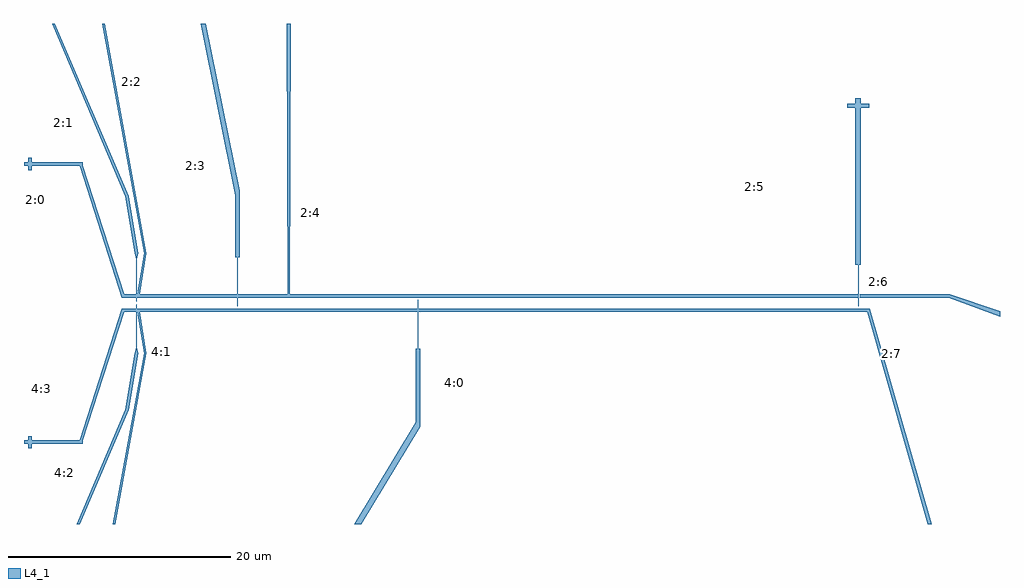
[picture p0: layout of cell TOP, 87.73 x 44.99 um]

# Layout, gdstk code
import gdstk
lib = gdstk.Library(unit=1e-6, precision=1e-09)
def P(c, l, *ps):  # polygons
    for p in ps: c.add(gdstk.Polygon(p, *l))
L4_1 = (4, 1)

top = lib.new_cell('TOP')
P(top, L4_1, [(-11.259,-12.839),(-11.259,-12.439),(-11.659,-12.439),(-11.659,-12.139),(-11.259,-12.139),(-11.259,-11.739),(-10.959,-11.739),(-10.959,-12.139),(-6.659,-12.139),(-2.859,-0.289),(-1.634,-0.289),(-1.634,-0.589),(-2.659,-0.589),(-6.359,-12.139),(-6.359,-12.439),(-10.959,-12.439),(-10.959,-12.839)],
  [(-3.675,-19.673),(-0.859,-4.289),(-1.484,-0.589),(-1.484,-0.289),(23.666,-0.289),(23.666,-0.589),(-1.259,-0.589),(-0.659,-4.289),(-3.44,-19.673)],
  [(69.566,-19.673),(64.141,-0.589),(23.816,-0.589),(23.816,-0.289),(64.341,-0.289),(69.926,-19.673)],
  [(-6.92,-19.673),(-2.559,-9.389),(-1.709,-4.289),(-1.584,-3.789),(-1.584,0.061),(-1.534,0.111),(-1.534,-3.789),(-1.409,-4.289),(-2.259,-9.389),(-6.669,-19.673)],
  [(18.031,-19.673),(23.541,-10.489),(23.541,-3.889),(23.716,-3.889),(23.716,0.511),(23.766,0.511),(23.766,-3.889),(23.941,-3.889),(23.941,-10.889),(18.671,-19.673)],
  [(76.068,-1.006),(71.443,0.696),(63.448,0.697),(63.442,0.697),(63.442,0.997),(71.552,0.995),(76.068,-0.542)],
  [(-2.859,0.711),(-6.659,12.561),(-10.959,12.561),(-10.959,12.161),(-11.259,12.161),(-11.259,12.561),(-11.659,12.561),(-11.659,12.861),(-11.259,12.861),(-11.259,13.261),(-10.959,13.261),(-10.959,12.861),(-6.359,12.861),(-6.359,12.561),(-2.659,1.011),(-1.634,1.011),(-1.634,0.711)],
  [(63.316,-0.089),(63.316,3.642),(63.044,3.642),(63.044,17.781),(62.326,17.781),(62.326,18.12),(63.044,18.12),(63.044,18.642),(63.544,18.642),(63.544,18.12),(64.326,18.12),(64.326,17.781),(63.544,17.781),(63.544,3.642),(63.366,3.642),(63.366,-0.089)],
  [(-1.534,0.311),(-1.584,0.361),(-1.584,4.211),(-1.709,4.711),(-2.559,9.811),(-9.136,25.322),(-8.911,25.322),(-2.259,9.811),(-1.409,4.711),(-1.534,4.211)],
  [(7.516,-0.089),(7.516,4.311),(7.341,4.311),(7.341,9.911),(4.206,25.322),(4.687,25.322),(7.741,10.311),(7.741,4.311),(7.566,4.311),(7.566,-0.089)],
  [(-1.484,0.711),(-1.484,1.011),(-0.859,4.711),(-4.632,25.322),(-4.385,25.322),(-0.659,4.711),(-1.259,1.011),(7.466,1.011),(7.466,0.711)],
  [(7.616,0.711),(7.616,1.011),(12.041,1.011),(11.959,25.322),(12.324,25.322),(12.241,1.011),(63.266,1.011),(63.266,0.711)])
top.add(gdstk.Label('2:4', (14.124,8.321), layer=4, texttype=1))
top.add(gdstk.Label('4:0', (27.02,-6.957), layer=4, texttype=1))
top.add(gdstk.Label('2:0', (-10.593,9.483), layer=4, texttype=1))
top.add(gdstk.Label('2:1', (-8.071,16.444), layer=4, texttype=1))
top.add(gdstk.Label('2:2', (-2.018,20.16), layer=4, texttype=1))
top.add(gdstk.Label('2:3', (3.733,12.611), layer=4, texttype=1))
top.add(gdstk.Label('2:5', (53.974,10.694), layer=4, texttype=1))
top.add(gdstk.Label('2:6', (65.173,2.119), layer=4, texttype=1))
top.add(gdstk.Label('2:7', (66.282,-4.338), layer=4, texttype=1))
top.add(gdstk.Label('4:1', (0.706,-4.136), layer=4, texttype=1))
top.add(gdstk.Label('4:2', (-8.027,-15.023), layer=4, texttype=1))
top.add(gdstk.Label('4:3', (-10.089,-7.466), layer=4, texttype=1))

lib.write_gds('TOP.gds')
